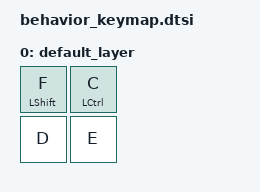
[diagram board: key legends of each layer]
#include <dt-bindings/zmk/keys.h>
#include <behaviors.dtsi>
#include <dt-bindings/zmk/kscan_mock.h>

/ {
    behaviors {
        ht_a: behavior_ht_a {
            compatible = "zmk,behavior-hold-tap";
            #binding-cells = <2>;
            flavor = "tap-preferred";
            tapping-term-ms = <300>;
            require-prior-idle-ms = <100>;
            exclude-prior-idle-key-positions = <2>;
            bindings = <&kp>, <&kp>;
        };
        ht_b: behavior_ht_b {
            compatible = "zmk,behavior-hold-tap";
            #binding-cells = <2>;
            flavor = "tap-preferred";
            tapping-term-ms = <300>;
            require-prior-idle-ms = <100>;
            exclude-prior-idle-key-positions = <3>;
            bindings = <&kp>, <&kp>;
        };
    };

    keymap {
        compatible = "zmk,keymap";

        default_layer {
            bindings = <
                &ht_a LEFT_SHIFT F &ht_b LEFT_CONTROL C
                &kp D &kp E>;
        };
    };
};
